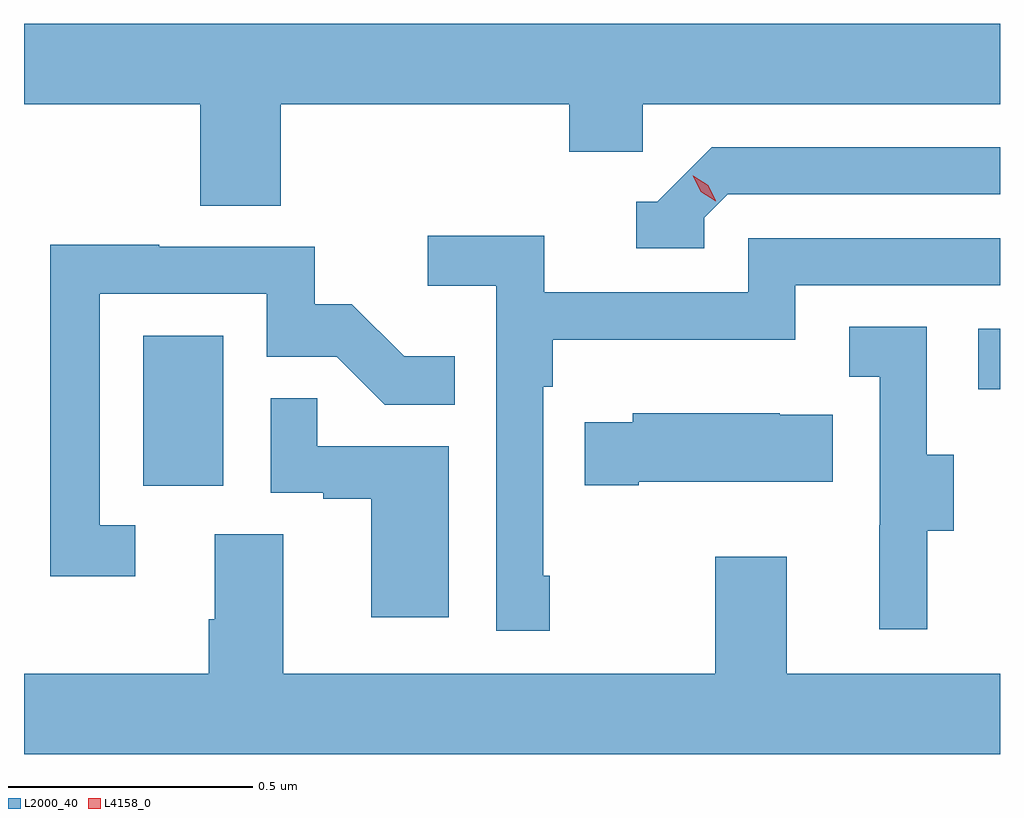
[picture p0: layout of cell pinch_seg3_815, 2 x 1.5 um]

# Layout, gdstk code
import gdstk
lib = gdstk.Library(unit=1e-6, precision=1e-09)
def R(c, l, rs):  # rectangles x0, y0, x1, y1
    for r in rs: c.add(gdstk.rectangle(r[:2], r[2:], *l))
def P(c, l, *ps):  # polygons
    for p in ps: c.add(gdstk.Polygon(p, *l))
L2000_40 = (2000, 40)
L4158_0 = (4158, 0)

pinch_seg3_815 = lib.new_cell('pinch_seg3_815')
R(pinch_seg3_815, L2000_40, [(865.286,713.454,865.45,713.761), (866.997,713.651,867.042,713.775)])
P(pinch_seg3_815, L2000_40, [(865.568,714.236),(866.159,714.236),(866.159,714.138),(866.31,714.138),(866.31,714.236),(867.042,714.236),(867.042,714.4),(865.042,714.4),(865.042,714.236),(865.403,714.236),(865.403,714.028),(865.568,714.028)],
  [(866.436,714.003),(866.484,714.051),(867.042,714.051),(867.042,714.147),(866.451,714.147),(866.34,714.036),(866.297,714.036),(866.297,713.94),(866.436,713.94)],
  [(866.119,713.269),(866.106,713.269),(866.106,713.657),(866.126,713.657),(866.126,713.753),(866.622,713.753),(866.622,713.865),(867.042,713.865),(867.042,713.961),(866.526,713.961),(866.526,713.85),(866.108,713.85),(866.108,713.966),(865.869,713.966),(865.869,713.864),(866.01,713.864),(866.01,713.157),(866.119,713.157)],
  [(865.27,713.373),(865.197,713.373),(865.197,713.847),(865.539,713.847),(865.539,713.718),(865.683,713.718),(865.781,713.62),(865.925,713.62),(865.925,713.719),(865.821,713.719),(865.714,713.826),(865.638,713.826),(865.638,713.943),(865.319,713.943),(865.319,713.948),(865.096,713.948),(865.096,713.268),(865.27,713.268)],
  [(866.893,713.362),(866.947,713.362),(866.947,713.517),(866.892,713.517),(866.892,713.78),(866.733,713.78),(866.733,713.677),(866.796,713.677),(866.796,713.373),(866.795,713.373),(866.795,713.16),(866.893,713.16)],
  [(865.912,713.535),(865.643,713.535),(865.643,713.633),(865.548,713.633),(865.548,713.439),(865.655,713.439),(865.655,713.427),(865.754,713.427),(865.754,713.184),(865.912,713.184)],
  [(866.302,713.462),(866.699,713.462),(866.699,713.599),(866.591,713.599),(866.591,713.602),(866.289,713.602),(866.289,713.584),(866.191,713.584),(866.191,713.455),(866.302,713.455)],
  [(867.042,713.068),(866.605,713.068),(866.605,713.308),(866.458,713.308),(866.458,713.068),(865.573,713.068),(865.573,713.354),(865.433,713.354),(865.433,713.18),(865.421,713.18),(865.421,713.068),(865.042,713.068),(865.042,712.904),(867.042,712.904)])
P(pinch_seg3_815, L4158_0, [(866.46,714.037),(866.429,714.056),(866.412,714.089),(866.412,714.089),(866.413,714.089),(866.444,714.07),(866.46,714.038),(866.46,714.037)])

lib.write_gds('pinch_seg3_815.gds')
